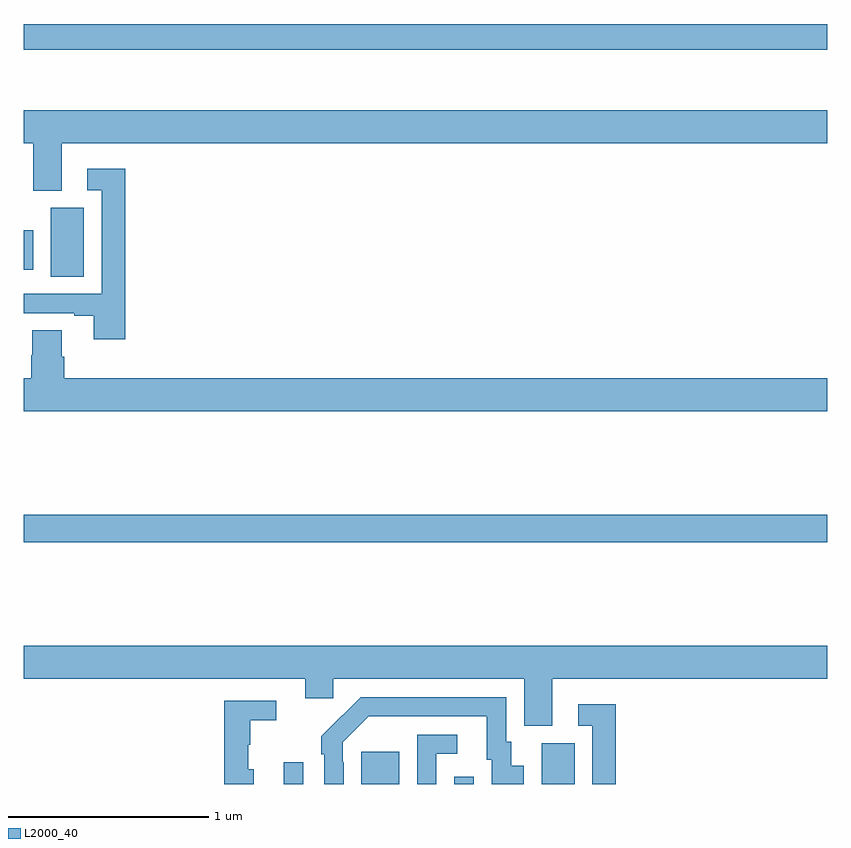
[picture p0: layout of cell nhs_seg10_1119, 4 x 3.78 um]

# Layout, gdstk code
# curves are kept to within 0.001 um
import gdstk
lib = gdstk.Library(unit=1e-6, precision=1e-09)
def R(c, l, rs):  # rectangles x0, y0, x1, y1
    for r in rs: c.add(gdstk.rectangle(r[:2], r[2:], *l))
def P(c, l, *ps):  # polygons
    for p in ps: c.add(gdstk.Polygon(p, *l))
L2000_40 = (2000, 40)

nhs_seg10_1119 = lib.new_cell('nhs_seg10_1119')
R(nhs_seg10_1119, L2000_40, [(170.295,1258.5,170.391,1258.609), (170.681,1258.5,170.869,1258.66), (171.144,1258.5,171.24,1258.537), (171.578,1258.5,171.742,1258.704), (169,1259.704,173,1259.84), (169.136,1261.024,169.3,1261.368), (169,1261.059,169.048,1261.255), (169,1262.154,173,1262.282)])
P(nhs_seg10_1119, L2000_40, [(169.189,1261.688),(173,1261.688),(173,1261.852),(169,1261.852),(169,1261.688),(169.049,1261.688),(169.049,1261.453),(169.189,1261.453)],
  [(169.505,1261.561),(169.317,1261.561),(169.317,1261.455),(169.389,1261.455),(169.389,1260.939),(169,1260.939),(169,1260.843),(169.253,1260.843),(169.253,1260.831),(169.349,1260.831),(169.349,1260.714),(169.505,1260.714)],
  [(173,1260.52),(169.202,1260.52),(169.202,1260.626),(169.189,1260.626),(169.189,1260.758),(169.042,1260.758),(169.042,1260.633),(169.037,1260.633),(169.037,1260.52),(169,1260.52),(169,1260.356),(173,1260.356)],
  [(171.631,1259.024),(173,1259.024),(173,1259.188),(169,1259.188),(169,1259.024),(170.402,1259.024),(170.402,1258.926),(170.541,1258.926),(170.541,1259.024),(171.491,1259.024),(171.491,1258.789),(171.631,1258.789)],
  [(170.592,1258.607),(170.589,1258.607),(170.589,1258.707),(170.718,1258.836),(171.305,1258.836),(171.305,1258.62),(171.329,1258.62),(171.329,1258.5),(171.49,1258.5),(171.49,1258.591),(171.427,1258.591),(171.427,1258.71),(171.402,1258.71),(171.402,1258.932),(170.678,1258.932),(170.481,1258.737),(170.481,1258.649),(170.496,1258.649),(170.496,1258.5),(170.592,1258.5)],
  [(170.146,1258.573),(170.117,1258.573),(170.117,1258.695),(170.128,1258.695),(170.128,1258.816),(170.257,1258.816),(170.257,1258.914),(169.999,1258.914),(169.999,1258.5),(170.146,1258.5)],
  [(171.947,1258.897),(171.759,1258.897),(171.759,1258.791),(171.831,1258.791),(171.831,1258.5),(171.947,1258.5)],
  [(171.054,1258.65),(171.157,1258.65),(171.157,1258.746),(170.958,1258.746),(170.958,1258.5),(171.054,1258.5)])

lib.write_gds('nhs_seg10_1119.gds')
